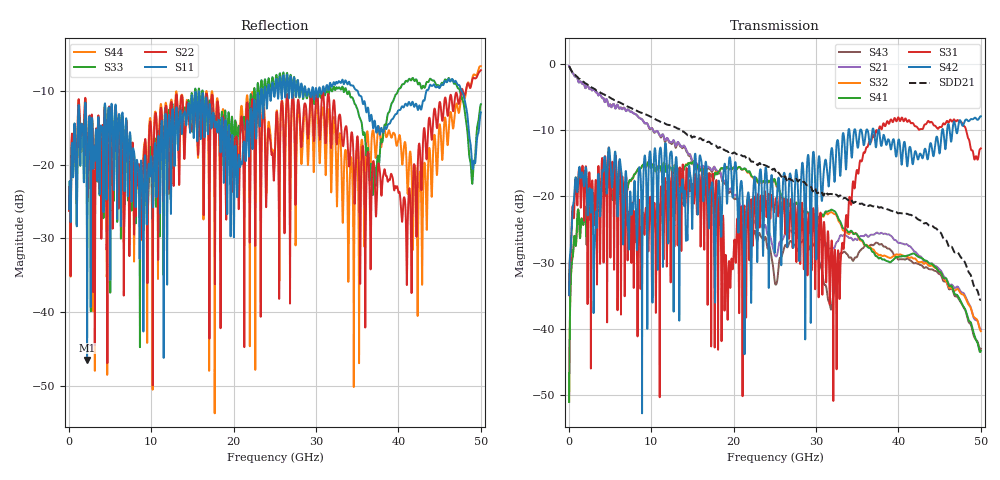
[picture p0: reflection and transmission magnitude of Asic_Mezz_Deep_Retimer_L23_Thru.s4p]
! Created Wed Jul  3 11:19:03 2019
# hz S ma R 50
! 4 Port Network Data from SP1.SP block
! freq  magS11  angS11  magS12  angS12  magS13  angS13  magS14  angS14
!  magS21  angS21  magS22  angS22  magS23  angS23  magS24  angS24
!  magS31  angS31  magS32  angS32  magS33  angS33  magS34  angS34
!  magS41  angS41  magS42  angS42  magS43  angS43  magS44  angS44
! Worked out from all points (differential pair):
!   4996 points, 50 MHz to 50 GHz, reference 50 ohm
!   strongest paths, dB at 50 MHz, 12.54 GHz, 25.03 GHz, 37.52 GHz, 50 GHz:
!     S42: -34.9, -14.2, -28.0, -10.2, -7.9
!     S31: -34.9, -16.2, -21.1, -10.5, -12.8
!     S41: -51.0, -16.3, -17.6, -29.3, -43.3
!     S32: -51.0, -16.4, -17.8, -28.8, -40.4
!     S21: -0.3, -11.9, -28.9, -25.5, -40.1
!     S43: -0.3, -12.0, -33.2, -27.1, -43.0
!   taken as a pair (ports 1,3 in; 2,4 out), SDD21 dB: -0.3, -9.4, -16.0, -21.6, -35.6
!   lowest |S11| = -46.5 dB at 2.23 GHz (marker M1), VSWR 1.01, Z = 50.4 + j0.255 ohm
!   |S11| at or under -10 dB: start of sweep to 23.34 GHz; 35.04 GHz to 43.39 GHz (8.348 GHz wide, 21.3 % of centre); 47.66 GHz to end of sweep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
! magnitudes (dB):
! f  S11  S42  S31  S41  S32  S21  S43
! 50 MHz  -26.0  -34.9  -34.9  -51.0  -51.0  -0.3  -0.3
! 550 MHz  -21.2  -21.2  -22.1  -28.3  -28.3  -1.5  -1.5
! 2.23 GHz  -46.5  -20.4  -23.0  -26.1  -26.1  -3.2  -3.2
! 32.3 GHz  -9.2  -17.2  -28.2  -22.3  -22.7  -27.5  -32.9
! 37.06 GHz  -14.2  -10.5  -11.1  -28.6  -28.2  -25.8  -27.3
! 40.98 GHz  -11.9  -14.7  -8.6  -29.0  -29.1  -27.2  -29.4
! 50 GHz  -12.9  -7.9  -12.8  -43.3  -40.4  -40.1  -43.0
